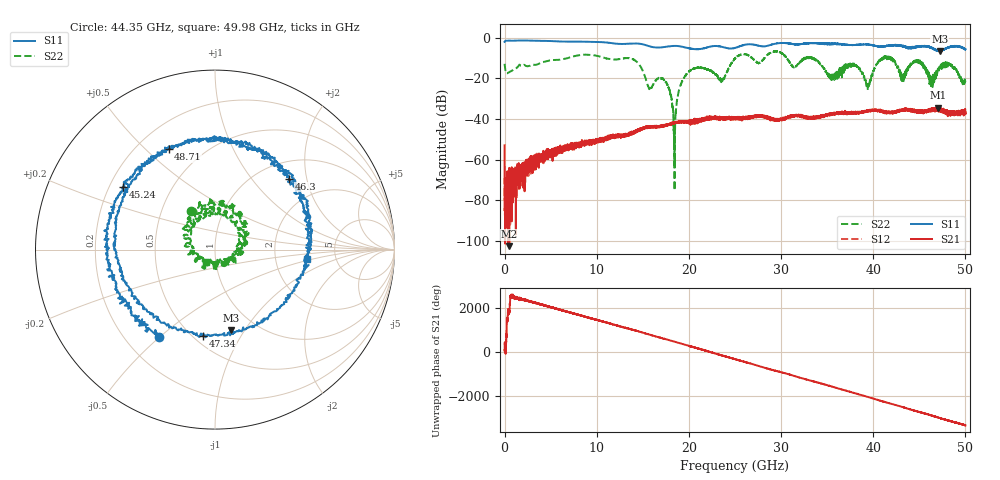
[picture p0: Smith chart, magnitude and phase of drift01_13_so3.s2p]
!Created with skrf (http://scikit-rf.org).
# Hz S RI R 50.0
!freq ReS11 ImS11 ReS21 ImS21 ReS12 ImS12 ReS22 ImS22
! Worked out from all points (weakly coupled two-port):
!   10001 points, 300 kHz to 50 GHz, reference 50 ohm
!   highest |S21| = -34.45 dB at 47 GHz (marker M1); lowest = -102.6 dB at 505.3 MHz (marker M2)
!   lowest |S11| = -6.8 dB at 47.21 GHz (marker M3), VSWR 2.69, Z = 38.4 - j43.6 ohm
!   |S11| at or under -10 dB: nowhere
!   |S22| runs from -75.2 to -6.6 dB; largest |S21 - S12| = 0.0049
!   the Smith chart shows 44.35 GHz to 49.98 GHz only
!   S11 on the Smith chart (normalised r, x): 44.35 GHz: 0.34, -0.50; 45.24 GHz: 0.25, +0.29; 46.3 GHz: 1.34, +1.58; 47.34 GHz: 0.56, -0.71; 48.71 GHz: 0.33, +0.59; 49.98 GHz: 3.05, -0.43
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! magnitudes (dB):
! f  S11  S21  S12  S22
! 300 kHz  -2.1  -53.0  -69.0  -12.9
! 505.3 MHz  -1.5  -102.6  -77.5  -17.0
! 8.335 GHz  -1.9  -51.7  -52.4  -8.5
! 16.67 GHz  -4.8  -43.7  -43.7  -19.9
! 17.74 GHz  -4.3  -42.6  -42.7  -23.7
! 18.43 GHz  -4.1  -42.0  -41.8  -55.4
! 19.9 GHz  -5.1  -41.3  -41.6  -17.2
! 23.6 GHz  -4.5  -39.5  -40.0  -20.6
! 25 GHz  -5.0  -39.7  -39.4  -10.3
! 33.34 GHz  -2.6  -39.3  -39.5  -9.9
! 39.37 GHz  -3.4  -36.2  -36.1  -23.8
! 41.67 GHz  -3.9  -36.8  -36.8  -9.8
! 43.18 GHz  -4.2  -35.6  -35.5  -18.8
! 44.35 GHz  -4.7  -35.6  -36.1  -11.9
! 45.24 GHz  -4.1  -36.8  -36.7  -12.4
! 46.3 GHz  -4.8  -35.4  -35.8  -21.0
! 47 GHz  -6.5  -34.4  -35.4  -15.6
! 47.21 GHz  -6.8  -35.5  -35.6  -14.7
! 47.34 GHz  -6.3  -36.5  -35.9  -13.2
! 48.71 GHz  -4.2  -37.7  -37.5  -14.3
! 49.98 GHz  -5.8  -37.5  -36.7  -21.5
! 50 GHz  -5.7  -37.0  -36.7  -21.5
